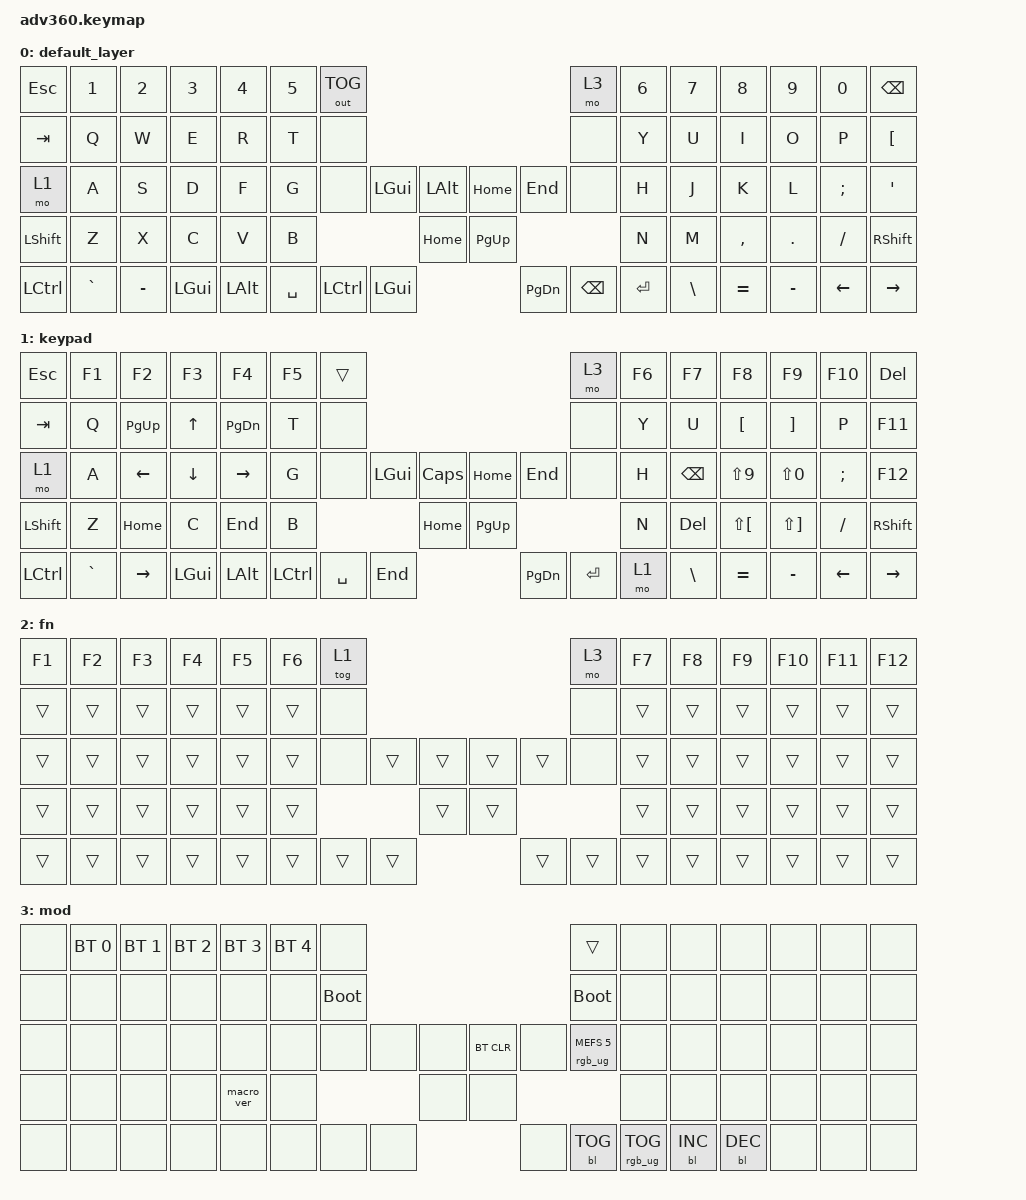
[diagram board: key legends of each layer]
#include <behaviors.dtsi>
#include <dt-bindings/zmk/keys.h>
#include <dt-bindings/zmk/bt.h>
#include <dt-bindings/zmk/rgb.h>
#include <dt-bindings/zmk/backlight.h>
#include <dt-bindings/zmk/outputs.h>

/ {
    behaviors {
      #include "macros.dtsi"
      #include "version.dtsi"
      #ifndef VERSION_MACRO
      macro_ver: macro_ver {
        compatible = "zmk,behavior-macro";
        label = "macro_version";
        #binding-cells = <0>;
        bindings = <&kp RET>;
      };
      #endif

      hm: homerow_mods {
          compatible = "zmk,behavior-hold-tap";
          label = "HOMEROW_MODS";
          #binding-cells = <2>;
          tapping-term-ms = <200>;
          quick_tap_ms = <175>;
          flavor = "tap-preferred";
          bindings = <&kp>, <&kp>;
      };
    };

  keymap {
    compatible = "zmk,keymap";

    default_layer {
      bindings = <
        &kp ESC   &kp N1    &kp N2    &kp N3   &kp N4     &kp N5 &out OUT_TOG                                                          &mo 3 &kp N6 &kp N7   &kp N8       &kp N9       &kp N0   &kp BSPC
        &kp TAB   &kp Q     &kp W     &kp E    &kp R      &kp T  &none                                                                 &none &kp Y  &kp U    &kp I        &kp O        &kp P    &kp LBKT
        &mo 1     &kp A     &kp S     &kp D    &kp F      &kp G  &none                   &kp LGUI  &kp LALT &kp HOME  &kp END          &none &kp H  &kp J    &kp K        &kp L        &kp SEMI &kp SQT
        &kp LSHFT &kp Z     &kp X     &kp C    &kp V      &kp B                                    &kp HOME &kp PG_UP                        &kp N  &kp M    &kp COMMA    &kp DOT      &kp FSLH &kp RSHFT
        &kp LCTRL &kp GRAVE &kp MINUS &kp LGUI &kp LALT                        &kp SPACE &kp LCTRL &kp LGUI &kp PG_DN &kp BSPC &kp ENTER            &kp BSLH &kp EQUAL    &kp MINUS    &kp LEFT &kp RIGHT
      >;
    };
    keypad {
      bindings = <
        &kp ESC   &kp F1    &kp F2    &kp F3   &kp F4     &kp F5 &trans                                                                &mo 3 &kp F6 &kp F7   &kp F8       &kp F9       &kp F10  &kp DEL
        &kp TAB   &kp Q     &kp PG_UP &kp UP   &kp PG_DN  &kp T  &none                                                                 &none &kp Y  &kp U    &kp LBKT     &kp RBKT     &kp P    &kp F11
        &mo 1     &kp A     &kp LEFT  &kp DOWN &kp RIGHT  &kp G  &none                   &kp LGUI  &kp CAPS &kp HOME  &kp END          &none &kp H  &kp BSPC &kp LS(N9)   &kp LS(N0)   &kp SEMI &kp F12
        &kp LSHFT &kp Z     &kp HOME  &kp C    &kp END    &kp B                                    &kp HOME &kp PG_UP                        &kp N  &kp DEL  &kp LS(LBKT) &kp LS(RBKT) &kp FSLH &kp RSHFT
        &kp LCTRL &kp GRAVE &kp RIGHT &kp LGUI &kp LALT                        &kp LCTRL &kp SPACE &kp END  &kp PG_DN &kp ENTER &mo 1               &kp BSLH &kp EQUAL    &kp MINUS    &kp LEFT &kp RIGHT
      >;
    };
    fn {
      bindings = <
        &kp F1 &kp F2 &kp F3 &kp F4 &kp F5 &kp F6 &tog 1                                           &mo 3 &kp F7 &kp F8 &kp F9 &kp F10 &kp F11 &kp F12
        &trans &trans &trans &trans &trans &trans  &none                                           &none &trans &trans &trans &trans  &trans  &trans
        &trans &trans &trans &trans &trans &trans  &none        &trans &trans &trans &trans        &none &trans &trans &trans &trans  &trans  &trans
        &trans &trans &trans &trans &trans &trans                      &trans &trans                     &trans &trans &trans &trans  &trans  &trans
        &trans &trans &trans &trans &trans               &trans &trans &trans &trans &trans &trans              &trans &trans &trans  &trans  &trans
      >;
    };
    mod {
      bindings = <
        &none &bt BT_SEL 0 &bt BT_SEL 1 &bt BT_SEL 2 &bt BT_SEL 3 &bt BT_SEL 4 &none                                                                     &trans                 &none        &none        &none        &none &none &none
        &none &none        &none        &none        &none        &none        &bootloader                                                               &bootloader            &none        &none        &none        &none &none &none
        &none &none        &none        &none        &none        &none        &none                   &none &none &bt BT_CLR &none                      &rgb_ug RGB_MEFS_CMD 5 &none        &none        &none        &none &none &none
        &none &none        &none        &none        &macro_ver   &none                                      &none &none                                                        &none        &none        &none        &none &none &none
        &none &none        &none        &none        &none                                       &none &none &none &none      &bl BL_TOG &rgb_ug RGB_TOG                                     &bl BL_INC   &bl BL_DEC   &none &none &none
      >;
    };
  };
};
